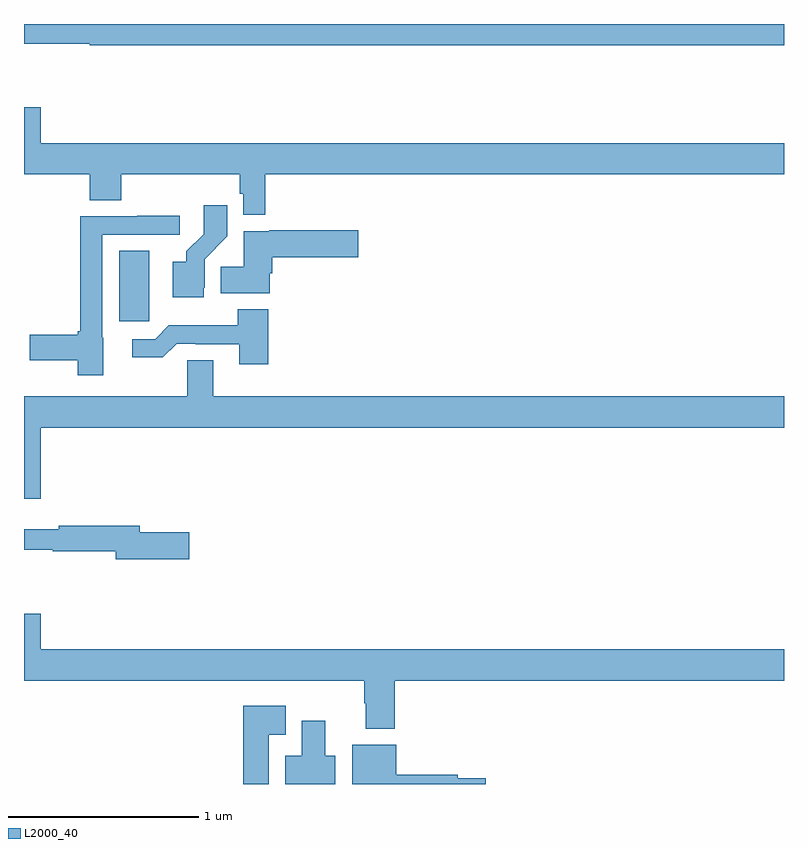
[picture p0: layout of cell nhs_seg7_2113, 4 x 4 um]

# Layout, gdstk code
import gdstk
lib = gdstk.Library(unit=1e-6, precision=1e-09)
def R(c, l, rs):  # rectangles x0, y0, x1, y1
    for r in rs: c.add(gdstk.rectangle(r[:2], r[2:], *l))
def P(c, l, *ps):  # polygons
    for p in ps: c.add(gdstk.Polygon(p, *l))
L2000_40 = (2000, 40)

nhs_seg7_2113 = lib.new_cell('nhs_seg7_2113')
R(nhs_seg7_2113, L2000_40, [(249.5,1074.435,249.658,1074.806)])
P(nhs_seg7_2113, L2000_40, [(253,1076),(249,1076),(249,1075.896),(249.345,1075.896),(249.345,1075.888),(253,1075.888)],
  [(250.271,1075.208),(253,1075.208),(253,1075.372),(249.088,1075.372),(249.088,1075.561),(249,1075.561),(249,1075.208),(249.347,1075.208),(249.347,1075.072),(249.512,1075.072),(249.512,1075.208),(250.135,1075.208),(250.135,1075.107),(250.155,1075.107),(250.155,1074.995),(250.271,1074.995)],
  [(249.946,1074.612),(249.951,1074.612),(249.951,1074.763),(250.07,1074.882),(250.07,1075.045),(249.945,1075.045),(249.945,1074.893),(249.854,1074.803),(249.854,1074.748),(249.782,1074.748),(249.782,1074.563),(249.946,1074.563)],
  [(249.418,1074.348),(249.411,1074.348),(249.411,1074.891),(249.82,1074.891),(249.82,1074.99),(249.595,1074.99),(249.595,1074.987),(249.295,1074.987),(249.295,1074.383),(249.282,1074.383),(249.282,1074.365),(249.03,1074.365),(249.03,1074.23),(249.282,1074.23),(249.282,1074.152),(249.418,1074.152)],
  [(250.294,1074.689),(250.307,1074.689),(250.307,1074.773),(250.759,1074.773),(250.759,1074.915),(250.29,1074.915),(250.29,1074.91),(250.157,1074.91),(250.157,1074.722),(250.036,1074.722),(250.036,1074.584),(250.294,1074.584)],
  [(250.286,1074.499),(250.126,1074.499),(250.126,1074.415),(249.763,1074.415),(249.69,1074.342),(249.57,1074.342),(249.57,1074.245),(249.731,1074.245),(249.804,1074.318),(249.904,1074.318),(249.904,1074.315),(250.133,1074.315),(250.133,1074.21),(250.286,1074.21)],
  [(249.088,1073.876),(253,1073.876),(253,1074.04),(249.997,1074.04),(249.997,1074.23),(249.858,1074.23),(249.858,1074.04),(249,1074.04),(249,1073.502),(249.088,1073.502)],
  [(249.871,1073.324),(249.61,1073.324),(249.61,1073.36),(249.184,1073.36),(249.184,1073.341),(249,1073.341),(249,1073.232),(249.152,1073.232),(249.152,1073.224),(249.482,1073.224),(249.482,1073.182),(249.871,1073.182)],
  [(250.952,1072.544),(253,1072.544),(253,1072.708),(249.088,1072.708),(249.088,1072.897),(249,1072.897),(249,1072.544),(250.792,1072.544),(250.792,1072.424),(250.799,1072.424),(250.799,1072.292),(250.952,1072.292)],
  [(250.288,1072.259),(250.378,1072.259),(250.378,1072.411),(250.154,1072.411),(250.154,1072),(250.288,1072)],
  [(250.639,1072.15),(250.585,1072.15),(250.585,1072.333),(250.463,1072.333),(250.463,1072.15),(250.376,1072.15),(250.376,1072),(250.639,1072)],
  [(251.429,1072.029),(251.282,1072.029),(251.282,1072.049),(250.96,1072.049),(250.96,1072.207),(250.727,1072.207),(250.727,1072),(251.429,1072)])

lib.write_gds('nhs_seg7_2113.gds')
